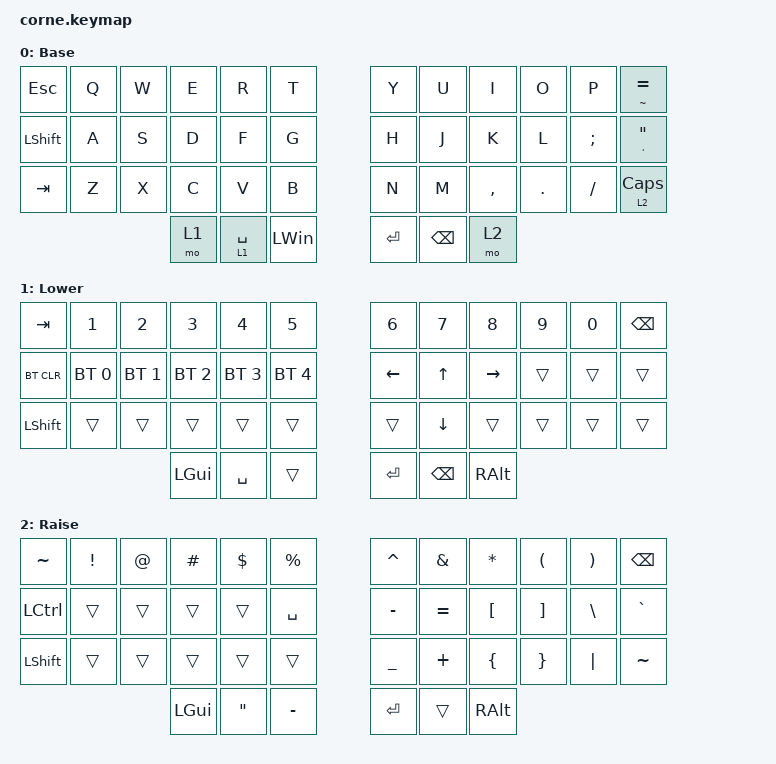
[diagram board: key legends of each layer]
/*
 * Copyright (c) 2020 The ZMK Contributors
 *
 * SPDX-License-Identifier: MIT
 */

#include <behaviors.dtsi>
#include <dt-bindings/zmk/bt.h>
#include <dt-bindings/zmk/keys.h>

&mt { tapping-term-ms = <800>; };

/ {
    keymap {
        compatible = "zmk,keymap";

        default_layer {
            // -----------------------------------------------------------------------------------------
            // |  TAB |  Q  |  W  |  E  |  R  |  T  |   |  Y  |  U   |  I  |  O  |  P  | BKSP |
            // | CTRL |  A  |  S  |  D  |  F  |  G  |   |  H  |  J   |  K  |  L  |  ;  |  '   |
            // | SHFT |  Z  |  X  |  C  |  V  |  B  |   |  N  |  M   |  ,  |  .  |  /  | ESC  |
            //                    | GUI | LWR | SPC |   | ENT | RSE  | ALT |

            label = "Base";
            bindings = <
&kp ESCAPE  &kp Q  &kp W  &kp E  &kp R        &kp T           &kp Y    &kp U          &kp I      &kp O    &kp P     &mt TILDE EQUAL
&kp LSHFT   &kp A  &kp S  &kp D  &kp F        &kp G           &kp H    &kp J          &kp K      &kp L    &kp SEMI  &mt SQT DOUBLE_QUOTES
&kp TAB     &kp Z  &kp X  &kp C  &kp V        &kp B           &kp N    &kp M          &kp COMMA  &kp DOT  &kp FSLH  &lt 2 CAPSLOCK
                          &mo 1  &lt 1 SPACE  &kp LEFT_WIN    &kp RET  &kp BACKSPACE  &mo 2
            >;
        };

        lower_layer {
            // -----------------------------------------------------------------------------------------
            // |  TAB |  1  |  2  |  3  |  4  |  5  |   |  6  |  7  |  8  |  9  |  0  | BKSP |
            // | BTCLR| BT1 | BT2 | BT3 | BT4 | BT5 |   | LFT | DWN |  UP | RGT |     |      |
            // | SHFT |     |     |     |     |     |   |     |     |     |     |     |      |
            //                    | GUI |     | SPC |   | ENT |     | ALT |

            label = "Lower";
            bindings = <
&kp TAB     &kp N1        &kp N2        &kp N3        &kp N4        &kp N5          &kp N6    &kp N7          &kp N8     &kp N9  &kp N0  &kp BSPC
&bt BT_CLR  &bt BT_SEL 0  &bt BT_SEL 1  &bt BT_SEL 2  &bt BT_SEL 3  &bt BT_SEL 4    &kp LEFT  &kp UP_ARROW    &kp RIGHT  &trans  &trans  &trans
&kp LSHFT   &trans        &trans        &trans        &trans        &trans          &trans    &kp DOWN_ARROW  &trans     &trans  &trans  &trans
                                        &kp LGUI      &kp SPACE     &trans          &kp RET   &kp BACKSPACE   &kp RALT
            >;
        };

        raise_layer {
            // -----------------------------------------------------------------------------------------
            // |  TAB |  !  |  @  |  #  |  $  |  %  |   |  ^  |  &  |  *  |  (  |  )  | BKSP |
            // | CTRL |     |     |     |     |     |   |  -  |  =  |  [  |  ]  |  \  |  `   |
            // | SHFT |     |     |     |     |     |   |  _  |  +  |  {  |  }  | "|" |  ~   |
            //                    | GUI |     | SPC |   | ENT |     | ALT |

            label = "Raise";
            bindings = <
&kp TILDE  &kp EXCL  &kp AT  &kp HASH  &kp DLLR           &kp PRCNT    &kp CARET  &kp AMPS   &kp ASTERISK  &kp LPAR  &kp RPAR  &kp BSPC
&kp LCTRL  &trans    &trans  &trans    &trans             &kp SPACE    &kp MINUS  &kp EQUAL  &kp LBKT      &kp RBKT  &kp BSLH  &kp GRAVE
&kp LSHFT  &trans    &trans  &trans    &trans             &trans       &kp UNDER  &kp PLUS   &kp LBRC      &kp RBRC  &kp PIPE  &kp TILDE
                             &kp LGUI  &kp DOUBLE_QUOTES  &kp MINUS    &kp RET    &trans     &kp RALT
            >;
        };
    };
};
